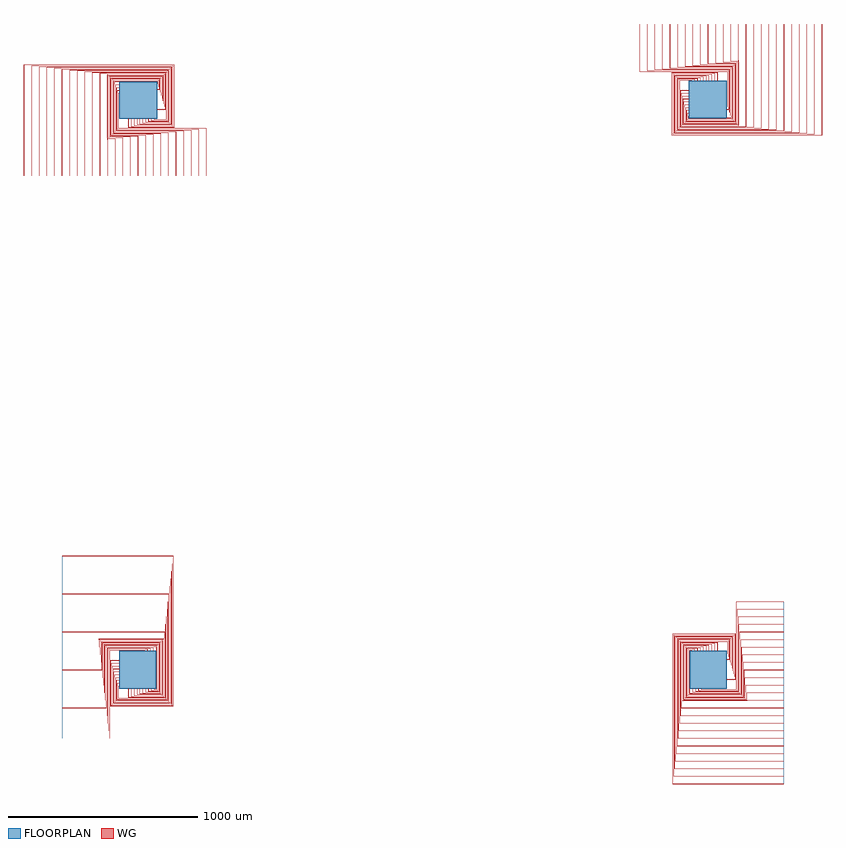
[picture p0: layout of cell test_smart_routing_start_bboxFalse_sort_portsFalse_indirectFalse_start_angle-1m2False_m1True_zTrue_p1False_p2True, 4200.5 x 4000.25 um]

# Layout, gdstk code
import gdstk
lib = gdstk.Library(unit=1e-6, precision=1e-09)
def R(c, l, rs):  # rectangles x0, y0, x1, y1
    for r in rs: c.add(gdstk.rectangle(r[:2], r[2:], *l))
def P(c, l, *ps):  # polygons
    for p in ps: c.add(gdstk.Polygon(p, *l))
WG = (1, 0)
FLOORPLAN = (10, 0)

test_smart_routing_start = lib.new_cell('test_smart_routing_start_bboxFalse_sort_portsFalse_indirectFalse_start_angle-1m2False_m1True_zTrue_p1False_p2True')
P(test_smart_routing_start, WG, [(-145,-190),(-145,50.25),(-100,50.25),(-100,49.75),(-144.5,49.75),(-144.5,-189.5),(184.75,-189.5),(184.75,599.75),(-400,599.75),(-400,600.25),(185.25,600.25),(185.25,-190)],
  [(-140.5,-185.5),(-140.5,35.25),(-100,35.25),(-100,34.75),(-140,34.75),(-140,-185),(180.25,-185),(180.25,559.75),(-400,559.75),(-400,560.25),(180.75,560.25),(180.75,-185.5)],
  [(-136,-181),(-136,20.25),(-100,20.25),(-100,19.75),(-135.5,19.75),(-135.5,-180.5),(175.75,-180.5),(175.75,519.75),(-400,519.75),(-400,520.25),(176.25,520.25),(176.25,-181)],
  [(-131.5,-176.5),(-131.5,5.25),(-100,5.25),(-100,4.75),(-131,4.75),(-131,-176),(171.25,-176),(171.25,479.75),(-400,479.75),(-400,480.25),(171.75,480.25),(171.75,-176.5)],
  [(-127,-172),(-127,-9.75),(-100,-9.75),(-100,-10.25),(-126.5,-10.25),(-126.5,-171.5),(166.75,-171.5),(166.75,439.75),(-400,439.75),(-400,440.25),(167.25,440.25),(167.25,-172)],
  [(-122.5,-167.5),(-122.5,-24.75),(-100,-24.75),(-100,-25.25),(-122,-25.25),(-122,-167),(162.25,-167),(162.25,399.75),(-400,399.75),(-400,400.25),(162.75,400.25),(162.75,-167.5)],
  [(-118,-163),(-118,-39.75),(-100,-39.75),(-100,-40.25),(-117.5,-40.25),(-117.5,-162.5),(157.75,-162.5),(157.75,359.75),(-400,359.75),(-400,360.25),(158.25,360.25),(158.25,-163)],
  [(-113.5,-158.5),(-113.5,-54.75),(-100,-54.75),(-100,-55.25),(-113,-55.25),(-113,-158),(153.25,-158),(153.25,319.75),(-400,319.75),(-400,320.25),(153.75,320.25),(153.75,-158.5)],
  [(-109,-154),(-109,-69.75),(-100,-69.75),(-100,-70.25),(-108.5,-70.25),(-108.5,-153.5),(148.75,-153.5),(148.75,279.75),(-400,279.75),(-400,280.25),(149.25,280.25),(149.25,-154)],
  [(-104.5,-149.5),(-104.5,-84.75),(-100,-84.75),(-100,-85.25),(-104,-85.25),(-104,-149),(144.25,-149),(144.25,239.75),(-400,239.75),(-400,240.25),(144.75,240.25),(144.75,-149.5)],
  [(-50.25,-145),(-50.25,-100),(-49.75,-100),(-49.75,-144.5),(139.75,-144.5),(139.75,199.75),(-400,199.75),(-400,200.25),(140.25,200.25),(140.25,-145)],
  [(-35.25,-140.5),(-35.25,-100),(-34.75,-100),(-34.75,-140),(135.25,-140),(135.25,162.5),(-207.5,162.5),(-207.5,159.75),(-400,159.75),(-400,160.25),(-208,160.25),(-208,163),(135.75,163),(135.75,-140.5)],
  [(-20.25,-136),(-20.25,-100),(-19.75,-100),(-19.75,-135.5),(130.75,-135.5),(130.75,158),(-203,158),(-203,119.75),(-400,119.75),(-400,120.25),(-203.5,120.25),(-203.5,158.5),(131.25,158.5),(131.25,-136)],
  [(-5.25,-131.5),(-5.25,-100),(-4.75,-100),(-4.75,-131),(126.25,-131),(126.25,153.5),(-198.5,153.5),(-198.5,79.75),(-400,79.75),(-400,80.25),(-199,80.25),(-199,154),(126.75,154),(126.75,-131.5)],
  [(9.75,-127),(9.75,-100),(10.25,-100),(10.25,-126.5),(121.75,-126.5),(121.75,149),(-194,149),(-194,39.75),(-400,39.75),(-400,40.25),(-194.5,40.25),(-194.5,149.5),(122.25,149.5),(122.25,-127)],
  [(24.75,-122.5),(24.75,-100),(25.25,-100),(25.25,-122),(117.25,-122),(117.25,144.5),(-189.5,144.5),(-189.5,-0.25),(-400,-0.25),(-400,0.25),(-190,0.25),(-190,145),(117.75,145),(117.75,-122.5)],
  [(39.75,-118),(39.75,-100),(40.25,-100),(40.25,-117.5),(112.75,-117.5),(112.75,140),(-185,140),(-185,-40.25),(-400,-40.25),(-400,-39.75),(-185.5,-39.75),(-185.5,140.5),(113.25,140.5),(113.25,-118)],
  [(54.75,-113.5),(54.75,-100),(55.25,-100),(55.25,-113),(108.25,-113),(108.25,135.5),(-180.5,135.5),(-180.5,-80.25),(-400,-80.25),(-400,-79.75),(-181,-79.75),(-181,136),(108.75,136),(108.75,-113.5)],
  [(-400,-120.25),(-400,-119.75),(-176.5,-119.75),(-176.5,131.5),(104.25,131.5),(104.25,-109),(69.75,-109),(69.75,-100),(70.25,-100),(70.25,-108.5),(103.75,-108.5),(103.75,131),(-176,131),(-176,-120.25)],
  [(-400,-160.25),(-400,-159.75),(-172,-159.75),(-172,127),(99.75,127),(99.75,-104.5),(84.75,-104.5),(84.75,-100),(85.25,-100),(85.25,-104),(99.25,-104),(99.25,126.5),(-171.5,126.5),(-171.5,-160.25)],
  [(-400,-360.25),(-400,-359.75),(-149.5,-359.75),(-149.5,104.5),(35.25,104.5),(35.25,100),(34.75,100),(34.75,104),(-149,104),(-149,-360.25)],
  [(-400,-320.25),(-400,-319.75),(-154,-319.75),(-154,109),(50.25,109),(50.25,100),(49.75,100),(49.75,108.5),(-153.5,108.5),(-153.5,-320.25)],
  [(-400,-280.25),(-400,-279.75),(-158.5,-279.75),(-158.5,113.5),(65.25,113.5),(65.25,100),(64.75,100),(64.75,113),(-158,113),(-158,-280.25)],
  [(-400,-240.25),(-400,-239.75),(-163,-239.75),(-163,118),(80.25,118),(80.25,100),(79.75,100),(79.75,117.5),(-162.5,117.5),(-162.5,-240.25)],
  [(-400,-200.25),(-400,-199.75),(-167.5,-199.75),(-167.5,122.5),(95.25,122.5),(95.25,100),(94.75,100),(94.75,122),(-167,122),(-167,-200.25)],
  [(-600.25,2600),(-600.25,3185.25),(190,3185.25),(190,2855),(-50.25,2855),(-50.25,2900),(-49.75,2900),(-49.75,2855.5),(189.5,2855.5),(189.5,3184.75),(-599.75,3184.75),(-599.75,2600)],
  [(-560.25,2600),(-560.25,3180.75),(185.5,3180.75),(185.5,2859.5),(-35.25,2859.5),(-35.25,2900),(-34.75,2900),(-34.75,2860),(185,2860),(185,3180.25),(-559.75,3180.25),(-559.75,2600)],
  [(-520.25,2600),(-520.25,3176.25),(181,3176.25),(181,2864),(-20.25,2864),(-20.25,2900),(-19.75,2900),(-19.75,2864.5),(180.5,2864.5),(180.5,3175.75),(-519.75,3175.75),(-519.75,2600)],
  [(-480.25,2600),(-480.25,3171.75),(176.5,3171.75),(176.5,2868.5),(-5.25,2868.5),(-5.25,2900),(-4.75,2900),(-4.75,2869),(176,2869),(176,3171.25),(-479.75,3171.25),(-479.75,2600)],
  [(-440.25,2600),(-440.25,3167.25),(172,3167.25),(172,2873),(9.75,2873),(9.75,2900),(10.25,2900),(10.25,2873.5),(171.5,2873.5),(171.5,3166.75),(-439.75,3166.75),(-439.75,2600)],
  [(-400.25,2600),(-400.25,3162.75),(167.5,3162.75),(167.5,2877.5),(24.75,2877.5),(24.75,2900),(25.25,2900),(25.25,2878),(167,2878),(167,3162.25),(-399.75,3162.25),(-399.75,2600)],
  [(-360.25,2600),(-360.25,3158.25),(163,3158.25),(163,2882),(39.75,2882),(39.75,2900),(40.25,2900),(40.25,2882.5),(162.5,2882.5),(162.5,3157.75),(-359.75,3157.75),(-359.75,2600)],
  [(-320.25,2600),(-320.25,3153.75),(158.5,3153.75),(158.5,2886.5),(54.75,2886.5),(54.75,2900),(55.25,2900),(55.25,2887),(158,2887),(158,3153.25),(-319.75,3153.25),(-319.75,2600)],
  [(-280.25,2600),(-280.25,3149.25),(154,3149.25),(154,2891),(69.75,2891),(69.75,2900),(70.25,2900),(70.25,2891.5),(153.5,2891.5),(153.5,3148.75),(-279.75,3148.75),(-279.75,2600)],
  [(-240.25,2600),(-240.25,3144.75),(149.5,3144.75),(149.5,2895.5),(84.75,2895.5),(84.75,2900),(85.25,2900),(85.25,2896),(149,2896),(149,3144.25),(-239.75,3144.25),(-239.75,2600)],
  [(-200.25,2600),(-200.25,3140.25),(145,3140.25),(145,2949.75),(100,2949.75),(100,2950.25),(144.5,2950.25),(144.5,3139.75),(-199.75,3139.75),(-199.75,2600)],
  [(-160.25,2600),(-160.25,2792),(-163,2792),(-163,3135.75),(140.5,3135.75),(140.5,2964.75),(100,2964.75),(100,2965.25),(140,2965.25),(140,3135.25),(-162.5,3135.25),(-162.5,2792.5),(-159.75,2792.5),(-159.75,2600)],
  [(-120.25,2600),(-120.25,2796.5),(-158.5,2796.5),(-158.5,3131.25),(136,3131.25),(136,2979.75),(100,2979.75),(100,2980.25),(135.5,2980.25),(135.5,3130.75),(-158,3130.75),(-158,2797),(-119.75,2797),(-119.75,2600)],
  [(-80.25,2600),(-80.25,2801),(-154,2801),(-154,3126.75),(131.5,3126.75),(131.5,2994.75),(100,2994.75),(100,2995.25),(131,2995.25),(131,3126.25),(-153.5,3126.25),(-153.5,2801.5),(-79.75,2801.5),(-79.75,2600)],
  [(-40.25,2600),(-40.25,2805.5),(-149.5,2805.5),(-149.5,3122.25),(127,3122.25),(127,3009.75),(100,3009.75),(100,3010.25),(126.5,3010.25),(126.5,3121.75),(-149,3121.75),(-149,2806),(-39.75,2806),(-39.75,2600)],
  [(-0.25,2600),(-0.25,2810),(-145,2810),(-145,3117.75),(122.5,3117.75),(122.5,3024.75),(100,3024.75),(100,3025.25),(122,3025.25),(122,3117.25),(-144.5,3117.25),(-144.5,2810.5),(0.25,2810.5),(0.25,2600)],
  [(39.75,2600),(39.75,2814.5),(-140.5,2814.5),(-140.5,3113.25),(118,3113.25),(118,3039.75),(100,3039.75),(100,3040.25),(117.5,3040.25),(117.5,3112.75),(-140,3112.75),(-140,2815),(40.25,2815),(40.25,2600)],
  [(79.75,2600),(79.75,2819),(-136,2819),(-136,3108.75),(113.5,3108.75),(113.5,3054.75),(100,3054.75),(100,3055.25),(113,3055.25),(113,3108.25),(-135.5,3108.25),(-135.5,2819.5),(80.25,2819.5),(80.25,2600)],
  [(119.75,2600),(119.75,2823.5),(-131.5,2823.5),(-131.5,3104.25),(109,3104.25),(109,3069.75),(100,3069.75),(100,3070.25),(108.5,3070.25),(108.5,3103.75),(-131,3103.75),(-131,2824),(120.25,2824),(120.25,2600)],
  [(159.75,2600),(159.75,2828),(-127,2828),(-127,3099.75),(104.5,3099.75),(104.5,3084.75),(100,3084.75),(100,3085.25),(104,3085.25),(104,3099.25),(-126.5,3099.25),(-126.5,2828.5),(160.25,2828.5),(160.25,2600)],
  [(359.75,2600),(359.75,2850.5),(-104.5,2850.5),(-104.5,3035.25),(-100,3035.25),(-100,3034.75),(-104,3034.75),(-104,2851),(360.25,2851),(360.25,2600)],
  [(319.75,2600),(319.75,2846),(-109,2846),(-109,3050.25),(-100,3050.25),(-100,3049.75),(-108.5,3049.75),(-108.5,2846.5),(320.25,2846.5),(320.25,2600)],
  [(279.75,2600),(279.75,2841.5),(-113.5,2841.5),(-113.5,3065.25),(-100,3065.25),(-100,3064.75),(-113,3064.75),(-113,2842),(280.25,2842),(280.25,2600)],
  [(239.75,2600),(239.75,2837),(-118,2837),(-118,3080.25),(-100,3080.25),(-100,3079.75),(-117.5,3079.75),(-117.5,2837.5),(240.25,2837.5),(240.25,2600)],
  [(199.75,2600),(199.75,2832.5),(-122.5,2832.5),(-122.5,3095.25),(-100,3095.25),(-100,3094.75),(-122,3094.75),(-122,2833),(200.25,2833),(200.25,2600)],
  [(2814.75,-600.25),(2814.75,190),(3145,190),(3145,-50.25),(3100,-50.25),(3100,-49.75),(3144.5,-49.75),(3144.5,189.5),(2815.25,189.5),(2815.25,-599.75),(3400,-599.75),(3400,-600.25)],
  [(2819.25,-560.25),(2819.25,185.5),(3140.5,185.5),(3140.5,-35.25),(3100,-35.25),(3100,-34.75),(3140,-34.75),(3140,185),(2819.75,185),(2819.75,-559.75),(3400,-559.75),(3400,-560.25)],
  [(2823.75,-520.25),(2823.75,181),(3136,181),(3136,-20.25),(3100,-20.25),(3100,-19.75),(3135.5,-19.75),(3135.5,180.5),(2824.25,180.5),(2824.25,-519.75),(3400,-519.75),(3400,-520.25)],
  [(2828.25,-480.25),(2828.25,176.5),(3131.5,176.5),(3131.5,-5.25),(3100,-5.25),(3100,-4.75),(3131,-4.75),(3131,176),(2828.75,176),(2828.75,-479.75),(3400,-479.75),(3400,-480.25)],
  [(2832.75,-440.25),(2832.75,172),(3127,172),(3127,9.75),(3100,9.75),(3100,10.25),(3126.5,10.25),(3126.5,171.5),(2833.25,171.5),(2833.25,-439.75),(3400,-439.75),(3400,-440.25)],
  [(2837.25,-400.25),(2837.25,167.5),(3122.5,167.5),(3122.5,24.75),(3100,24.75),(3100,25.25),(3122,25.25),(3122,167),(2837.75,167),(2837.75,-399.75),(3400,-399.75),(3400,-400.25)],
  [(2841.75,-360.25),(2841.75,163),(3118,163),(3118,39.75),(3100,39.75),(3100,40.25),(3117.5,40.25),(3117.5,162.5),(2842.25,162.5),(2842.25,-359.75),(3400,-359.75),(3400,-360.25)],
  [(2846.25,-320.25),(2846.25,158.5),(3113.5,158.5),(3113.5,54.75),(3100,54.75),(3100,55.25),(3113,55.25),(3113,158),(2846.75,158),(2846.75,-319.75),(3400,-319.75),(3400,-320.25)],
  [(2850.75,-280.25),(2850.75,154),(3109,154),(3109,69.75),(3100,69.75),(3100,70.25),(3108.5,70.25),(3108.5,153.5),(2851.25,153.5),(2851.25,-279.75),(3400,-279.75),(3400,-280.25)],
  [(2855.25,-240.25),(2855.25,149.5),(3104.5,149.5),(3104.5,84.75),(3100,84.75),(3100,85.25),(3104,85.25),(3104,149),(2855.75,149),(2855.75,-239.75),(3400,-239.75),(3400,-240.25)],
  [(2859.75,-200.25),(2859.75,145),(3050.25,145),(3050.25,100),(3049.75,100),(3049.75,144.5),(2860.25,144.5),(2860.25,-199.75),(3400,-199.75),(3400,-200.25)],
  [(2864.25,-163),(2864.25,140.5),(3035.25,140.5),(3035.25,100),(3034.75,100),(3034.75,140),(2864.75,140),(2864.75,-162.5),(3207.5,-162.5),(3207.5,-159.75),(3400,-159.75),(3400,-160.25),(3208,-160.25),(3208,-163)],
  [(2868.75,-158.5),(2868.75,136),(3020.25,136),(3020.25,100),(3019.75,100),(3019.75,135.5),(2869.25,135.5),(2869.25,-158),(3203,-158),(3203,-119.75),(3400,-119.75),(3400,-120.25),(3203.5,-120.25),(3203.5,-158.5)],
  [(2873.25,-154),(2873.25,131.5),(3005.25,131.5),(3005.25,100),(3004.75,100),(3004.75,131),(2873.75,131),(2873.75,-153.5),(3198.5,-153.5),(3198.5,-79.75),(3400,-79.75),(3400,-80.25),(3199,-80.25),(3199,-154)],
  [(2877.75,-149.5),(2877.75,127),(2990.25,127),(2990.25,100),(2989.75,100),(2989.75,126.5),(2878.25,126.5),(2878.25,-149),(3194,-149),(3194,-39.75),(3400,-39.75),(3400,-40.25),(3194.5,-40.25),(3194.5,-149.5)],
  [(2882.25,-145),(2882.25,122.5),(2975.25,122.5),(2975.25,100),(2974.75,100),(2974.75,122),(2882.75,122),(2882.75,-144.5),(3189.5,-144.5),(3189.5,0.25),(3400,0.25),(3400,-0.25),(3190,-0.25),(3190,-145)],
  [(2886.75,-140.5),(2886.75,118),(2960.25,118),(2960.25,100),(2959.75,100),(2959.75,117.5),(2887.25,117.5),(2887.25,-140),(3185,-140),(3185,40.25),(3400,40.25),(3400,39.75),(3185.5,39.75),(3185.5,-140.5)],
  [(2891.25,-136),(2891.25,113.5),(2945.25,113.5),(2945.25,100),(2944.75,100),(2944.75,113),(2891.75,113),(2891.75,-135.5),(3180.5,-135.5),(3180.5,80.25),(3400,80.25),(3400,79.75),(3181,79.75),(3181,-136)],
  [(2895.75,-131.5),(2895.75,109),(2930.25,109),(2930.25,100),(2929.75,100),(2929.75,108.5),(2896.25,108.5),(2896.25,-131),(3176,-131),(3176,120.25),(3400,120.25),(3400,119.75),(3176.5,119.75),(3176.5,-131.5)],
  [(2900.25,-127),(2900.25,104.5),(2915.25,104.5),(2915.25,100),(2914.75,100),(2914.75,104),(2900.75,104),(2900.75,-126.5),(3171.5,-126.5),(3171.5,160.25),(3400,160.25),(3400,159.75),(3172,159.75),(3172,-127)],
  [(2964.75,-104.5),(2964.75,-100),(2965.25,-100),(2965.25,-104),(3149,-104),(3149,360.25),(3400,360.25),(3400,359.75),(3149.5,359.75),(3149.5,-104.5)],
  [(2949.75,-109),(2949.75,-100),(2950.25,-100),(2950.25,-108.5),(3153.5,-108.5),(3153.5,320.25),(3400,320.25),(3400,319.75),(3154,319.75),(3154,-109)],
  [(2934.75,-113.5),(2934.75,-100),(2935.25,-100),(2935.25,-113),(3158,-113),(3158,280.25),(3400,280.25),(3400,279.75),(3158.5,279.75),(3158.5,-113.5)],
  [(2919.75,-118),(2919.75,-100),(2920.25,-100),(2920.25,-117.5),(3162.5,-117.5),(3162.5,240.25),(3400,240.25),(3400,239.75),(3163,239.75),(3163,-118)],
  [(2904.75,-122.5),(2904.75,-100),(2905.25,-100),(2905.25,-122),(3167,-122),(3167,200.25),(3400,200.25),(3400,199.75),(3167.5,199.75),(3167.5,-122.5)],
  [(2810,2814.75),(2810,3145),(3050.25,3145),(3050.25,3100),(3049.75,3100),(3049.75,3144.5),(2810.5,3144.5),(2810.5,2815.25),(3599.75,2815.25),(3599.75,3400),(3600.25,3400),(3600.25,2814.75)],
  [(2814.5,2819.25),(2814.5,3140.5),(3035.25,3140.5),(3035.25,3100),(3034.75,3100),(3034.75,3140),(2815,3140),(2815,2819.75),(3559.75,2819.75),(3559.75,3400),(3560.25,3400),(3560.25,2819.25)],
  [(2819,2823.75),(2819,3136),(3020.25,3136),(3020.25,3100),(3019.75,3100),(3019.75,3135.5),(2819.5,3135.5),(2819.5,2824.25),(3519.75,2824.25),(3519.75,3400),(3520.25,3400),(3520.25,2823.75)],
  [(2823.5,2828.25),(2823.5,3131.5),(3005.25,3131.5),(3005.25,3100),(3004.75,3100),(3004.75,3131),(2824,3131),(2824,2828.75),(3479.75,2828.75),(3479.75,3400),(3480.25,3400),(3480.25,2828.25)],
  [(2828,2832.75),(2828,3127),(2990.25,3127),(2990.25,3100),(2989.75,3100),(2989.75,3126.5),(2828.5,3126.5),(2828.5,2833.25),(3439.75,2833.25),(3439.75,3400),(3440.25,3400),(3440.25,2832.75)],
  [(2832.5,2837.25),(2832.5,3122.5),(2975.25,3122.5),(2975.25,3100),(2974.75,3100),(2974.75,3122),(2833,3122),(2833,2837.75),(3399.75,2837.75),(3399.75,3400),(3400.25,3400),(3400.25,2837.25)],
  [(2837,2841.75),(2837,3118),(2960.25,3118),(2960.25,3100),(2959.75,3100),(2959.75,3117.5),(2837.5,3117.5),(2837.5,2842.25),(3359.75,2842.25),(3359.75,3400),(3360.25,3400),(3360.25,2841.75)],
  [(2841.5,2846.25),(2841.5,3113.5),(2945.25,3113.5),(2945.25,3100),(2944.75,3100),(2944.75,3113),(2842,3113),(2842,2846.75),(3319.75,2846.75),(3319.75,3400),(3320.25,3400),(3320.25,2846.25)],
  [(2846,2850.75),(2846,3109),(2930.25,3109),(2930.25,3100),(2929.75,3100),(2929.75,3108.5),(2846.5,3108.5),(2846.5,2851.25),(3279.75,2851.25),(3279.75,3400),(3280.25,3400),(3280.25,2850.75)],
  [(2850.5,2855.25),(2850.5,3104.5),(2915.25,3104.5),(2915.25,3100),(2914.75,3100),(2914.75,3104),(2851,3104),(2851,2855.75),(3239.75,2855.75),(3239.75,3400),(3240.25,3400),(3240.25,2855.25)],
  [(2855,2859.75),(2855,3050.25),(2900,3050.25),(2900,3049.75),(2855.5,3049.75),(2855.5,2860.25),(3199.75,2860.25),(3199.75,3400),(3200.25,3400),(3200.25,2859.75)],
  [(2859.5,2864.25),(2859.5,3035.25),(2900,3035.25),(2900,3034.75),(2860,3034.75),(2860,2864.75),(3162.5,2864.75),(3162.5,3207.5),(3159.75,3207.5),(3159.75,3400),(3160.25,3400),(3160.25,3208),(3163,3208),(3163,2864.25)],
  [(2864,2868.75),(2864,3020.25),(2900,3020.25),(2900,3019.75),(2864.5,3019.75),(2864.5,2869.25),(3158,2869.25),(3158,3203),(3119.75,3203),(3119.75,3400),(3120.25,3400),(3120.25,3203.5),(3158.5,3203.5),(3158.5,2868.75)],
  [(2868.5,2873.25),(2868.5,3005.25),(2900,3005.25),(2900,3004.75),(2869,3004.75),(2869,2873.75),(3153.5,2873.75),(3153.5,3198.5),(3079.75,3198.5),(3079.75,3400),(3080.25,3400),(3080.25,3199),(3154,3199),(3154,2873.25)],
  [(2873,2877.75),(2873,2990.25),(2900,2990.25),(2900,2989.75),(2873.5,2989.75),(2873.5,2878.25),(3149,2878.25),(3149,3194),(3039.75,3194),(3039.75,3400),(3040.25,3400),(3040.25,3194.5),(3149.5,3194.5),(3149.5,2877.75)],
  [(2877.5,2882.25),(2877.5,2975.25),(2900,2975.25),(2900,2974.75),(2878,2974.75),(2878,2882.75),(3144.5,2882.75),(3144.5,3189.5),(2999.75,3189.5),(2999.75,3400),(3000.25,3400),(3000.25,3190),(3145,3190),(3145,2882.25)],
  [(2882,2886.75),(2882,2960.25),(2900,2960.25),(2900,2959.75),(2882.5,2959.75),(2882.5,2887.25),(3140,2887.25),(3140,3185),(2959.75,3185),(2959.75,3400),(2960.25,3400),(2960.25,3185.5),(3140.5,3185.5),(3140.5,2886.75)],
  [(2886.5,2891.25),(2886.5,2945.25),(2900,2945.25),(2900,2944.75),(2887,2944.75),(2887,2891.75),(3135.5,2891.75),(3135.5,3180.5),(2919.75,3180.5),(2919.75,3400),(2920.25,3400),(2920.25,3181),(3136,3181),(3136,2891.25)],
  [(2891,2895.75),(2891,2930.25),(2900,2930.25),(2900,2929.75),(2891.5,2929.75),(2891.5,2896.25),(3131,2896.25),(3131,3176),(2879.75,3176),(2879.75,3400),(2880.25,3400),(2880.25,3176.5),(3131.5,3176.5),(3131.5,2895.75)],
  [(2895.5,2900.25),(2895.5,2915.25),(2900,2915.25),(2900,2914.75),(2896,2914.75),(2896,2900.75),(3126.5,2900.75),(3126.5,3171.5),(2839.75,3171.5),(2839.75,3400),(2840.25,3400),(2840.25,3172),(3127,3172),(3127,2900.25)],
  [(3100,2964.75),(3100,2965.25),(3104,2965.25),(3104,3149),(2639.75,3149),(2639.75,3400),(2640.25,3400),(2640.25,3149.5),(3104.5,3149.5),(3104.5,2964.75)],
  [(3100,2949.75),(3100,2950.25),(3108.5,2950.25),(3108.5,3153.5),(2679.75,3153.5),(2679.75,3400),(2680.25,3400),(2680.25,3154),(3109,3154),(3109,2949.75)],
  [(3100,2934.75),(3100,2935.25),(3113,2935.25),(3113,3158),(2719.75,3158),(2719.75,3400),(2720.25,3400),(2720.25,3158.5),(3113.5,3158.5),(3113.5,2934.75)],
  [(3100,2919.75),(3100,2920.25),(3117.5,2920.25),(3117.5,3162.5),(2759.75,3162.5),(2759.75,3400),(2760.25,3400),(2760.25,3163),(3118,3163),(3118,2919.75)],
  [(3100,2904.75),(3100,2905.25),(3122,2905.25),(3122,3167),(2799.75,3167),(2799.75,3400),(2800.25,3400),(2800.25,3167.5),(3122.5,3167.5),(3122.5,2904.75)])
R(test_smart_routing_start, FLOORPLAN, [(-100,-100,95,100), (2905,-100,3100,100), (-100,2900,100,3095), (2900,2905,3100,3100)])
P(test_smart_routing_start, FLOORPLAN, [(-400,-360),(-400,600),(-400,600),(-400,-360)],
  [(-600,2600),(-600,2600),(360,2600),(360,2600)],
  [(3400,-600),(3400,360),(3400,360),(3400,-600)],
  [(2640,3400),(2640,3400),(3600,3400),(3600,3400)])

lib.write_gds('test_smart_routing_start_bboxFalse_sort_portsFalse_indirectFalse_start_angle-1m2False_m1True_zTrue_p1False_p2True.gds')
